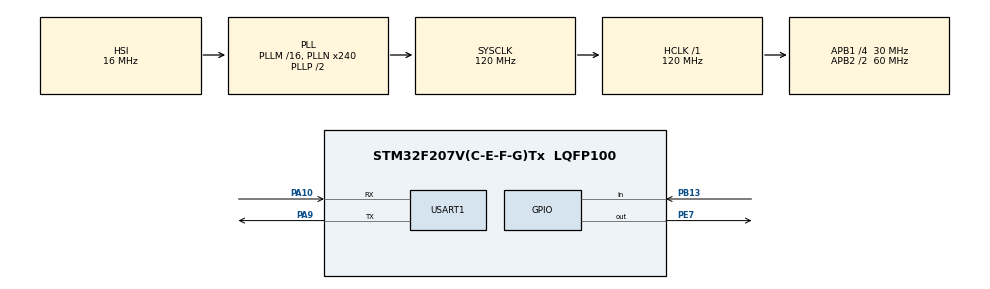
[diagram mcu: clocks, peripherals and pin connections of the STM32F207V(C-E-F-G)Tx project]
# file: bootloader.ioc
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Mcu.Family=STM32F2
RCC.CortexFreq_Value=120000000
PA10.Mode=Asynchronous
RCC.APB1CLKDivider=RCC_HCLK_DIV4
PB13.Signal=GPIO_Input
RCC.SYSCLKSource=RCC_SYSCLKSOURCE_PLLCLK
ProjectManager.StackSize=0x400
PA9.Mode=Asynchronous
ProjectManager.TargetToolchain=STM32CubeIDE
RCC.HCLKFreq_Value=120000000
RCC.APB2TimFreq_Value=120000000
PA9.Signal=USART1_TX
RCC.LSE_VALUE=32768
RCC.AHBFreq_Value=120000000
RCC.HSE_VALUE=25000000
board=custom
RCC.VCOOutputFreq_Value=240000000
PB13.GPIO_PuPd=GPIO_PULLUP
RCC.APB2Freq_Value=60000000
Mcu.Name=STM32F207V(C-E-F-G)Tx
RCC.48MHZClocksFreq_Value=60000000
RCC.SYSCLKFreq_VALUE=120000000
Mcu.Package=LQFP100
USART1.VirtualMode=VM_ASYNC
PA10.Signal=USART1_RX
ProjectManager.HeapSize=0x200
RCC.HSI_VALUE=16000000
NVIC.PriorityGroup=NVIC_PRIORITYGROUP_4
RCC.APB2CLKDivider=RCC_HCLK_DIV2
RCC.PLLN=240
RCC.APB1TimFreq_Value=60000000
PE7.Signal=GPIO_Output
RCC.APB1Freq_Value=30000000

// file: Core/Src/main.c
/* USER CODE BEGIN Header */
/**
  ******************************************************************************
  * @file           : main.c
  * @brief          : Main program body
  ******************************************************************************
  * @attention
  *
  * <h2><center>&copy; Copyright (c) 2021 STMicroelectronics.
  * All rights reserved.</center></h2>
  *
  * This software component is licensed by ST under BSD 3-Clause license,
  * the "License"; You may not use this file except in compliance with the
  * License. You may obtain a copy of the License at:
  *                        opensource.org/licenses/BSD-3-Clause
  *
  ******************************************************************************
  */
/* USER CODE END Header */
#include <string.h>
#include <stdlib.h>
#include "main.h"

/* USER CODE BEGIN Includes */
#include "bootloader.h"
/* USER CODE END Includes */

UART_HandleTypeDef huart1;

void SystemClock_Config(void);
static void MX_GPIO_Init(void);
static void MX_USART1_UART_Init(void);

/* USER CODE BEGIN 0 */

char getUsart1Char() {
    char ret = (char) (huart1.Instance->DR & 0xFF);
    __HAL_UART_CLEAR_FLAG(&huart1, UART_IT_RXNE);
    return ret;
}

uint32_t alignTo32bits(uint32_t val) {
    uint32_t ret = val / 4;
    if (val % 4 > 0) ret++;

    return ret;
}

/* USER CODE END 0 */

int main(void)
{

  /* MCU Configuration--------------------------------------------------------*/

  /* Reset of all peripherals, Initializes the Flash interface and the Systick. */
  HAL_Init();

  /* Configure the system clock */
  SystemClock_Config();

  /* Initialize all configured peripherals */
  MX_GPIO_Init();
  MX_USART1_UART_Init();

  /* Infinite loop */
  /* USER CODE BEGIN WHILE */
#pragma clang diagnostic push
#pragma ide diagnostic ignored "EndlessLoop"
    while (1) {
        if (HAL_GPIO_ReadPin(GPIOB, GPIO_PIN_13) == GPIO_PIN_RESET) {
            while (1) {
                char buffer[1048];
                uint16_t bufferPtr = 0;

                memset(buffer, 0, 1048);

                while (1) {
                    if (__HAL_UART_GET_FLAG(&huart1, UART_FLAG_RXNE) != RESET) {
                        char c = getUsart1Char();
                        if (c != '\n') buffer[bufferPtr++] = c;
                        else break;
                    }
                }

                if (strncmp(buffer, "reset", 5) == 0) {
                    char *res = "OK\r\n";
                    HAL_UART_Transmit(&huart1, (uint8_t *) res, strlen(res), 1000);

                    HAL_NVIC_SystemReset();
                } else if (strncmp(buffer, "read", 4) == 0) {
                    uint8_t *app = (uint8_t *) (APP_ADDRESS);

                    // Send 192 kB of user application
                    for (int i = 0; i < 192; i++) {
                        HAL_UART_Transmit(&huart1, &app[i * 1024], 1024, 10000);
                    }
                } else if (strncmp(buffer, "write", 5) == 0) {
                    uint32_t offset = 0;

                    char *res = "OK\r\n";
                    HAL_UART_Transmit(&huart1, (uint8_t *) res, strlen(res), 1000);
                    while (1) {
                        uint32_t binSize = 0;
                        // Read data size
                        memset(buffer, 0, 1048);
                        bufferPtr = 0;
                        while (1) {
                            if (__HAL_UART_GET_FLAG(&huart1, UART_FLAG_RXNE) != RESET) {
                                char c = getUsart1Char();
                                if (c != '\n') buffer[bufferPtr++] = c;
                                else break;
                            }
                        }

                        char *eptr;
                        binSize = strtol(buffer, &eptr, 10);
                        HAL_UART_Transmit(&huart1, (uint8_t *) res, strlen(res), 1000);

                        if (binSize > 0) {
                            memset(buffer, 0, 1048);
                            if (HAL_UART_Receive(&huart1, (uint8_t *) buffer, binSize, 10000) == HAL_OK) {
                                if (WriteUserApplication((uint32_t *) buffer, alignTo32bits(binSize), offset)) {
                                    offset += binSize;
                                    HAL_UART_Transmit(&huart1, (uint8_t *) res, strlen(res), 1000);
                                } else {
                                    char *err = "ERROR\r\n";
                                    HAL_UART_Transmit(&huart1, (uint8_t *) err, strlen(err), 1000);
                                    break;
                                }
                            } else {
                                char *err = "ERROR\r\n";
                                HAL_UART_Transmit(&huart1, (uint8_t *) err, strlen(err), 1000);
                                break;
                            }
                        } else {
                            break;
                        }
                    }
                } else if (strncmp(buffer, "erase", 5) == 0) {
                    EraseUserApplication();

                    char *res = "OK\r\n";
                    HAL_UART_Transmit(&huart1, (uint8_t *) res, strlen(res), 1000);
                } else {
                    char *res = "Wrong command\r\n";
                    HAL_UART_Transmit(&huart1, (uint8_t *) res, strlen(res), 1000);
                }
            }
        }

        for (int i = 0; i < 6; i++) {
            HAL_GPIO_TogglePin(GPIOE, GPIO_PIN_7);
            HAL_Delay(500);
        }

        if (UserApplicationExists()) {
            JumpToApplication();
        } else {
            while (1) {
                HAL_GPIO_TogglePin(GPIOE, GPIO_PIN_7);
                HAL_Delay(100);
            }
        }
    /* USER CODE END WHILE */

    /* USER CODE BEGIN 3 */
    }
#pragma clang diagnostic pop
  /* USER CODE END 3 */
}

void SystemClock_Config(void)
{
  RCC_OscInitTypeDef RCC_OscInitStruct = {0};
  RCC_ClkInitTypeDef RCC_ClkInitStruct = {0};

  /** Initializes the RCC Oscillators according to the specified parameters
  * in the RCC_OscInitTypeDef structure.
  */
  RCC_OscInitStruct.OscillatorType = RCC_OSCILLATORTYPE_HSI;
  RCC_OscInitStruct.HSIState = RCC_HSI_ON;
  RCC_OscInitStruct.HSICalibrationValue = RCC_HSICALIBRATION_DEFAULT;
  RCC_OscInitStruct.PLL.PLLState = RCC_PLL_ON;
  RCC_OscInitStruct.PLL.PLLSource = RCC_PLLSOURCE_HSI;
  RCC_OscInitStruct.PLL.PLLM = 16;
  RCC_OscInitStruct.PLL.PLLN = 240;
  RCC_OscInitStruct.PLL.PLLP = RCC_PLLP_DIV2;
  RCC_OscInitStruct.PLL.PLLQ = 4;
  if (HAL_RCC_OscConfig(&RCC_OscInitStruct) != HAL_OK)
  {
    Error_Handler();
  }
  /** Initializes the CPU, AHB and APB buses clocks
  */
  RCC_ClkInitStruct.ClockType = RCC_CLOCKTYPE_HCLK|RCC_CLOCKTYPE_SYSCLK
                              |RCC_CLOCKTYPE_PCLK1|RCC_CLOCKTYPE_PCLK2;
  RCC_ClkInitStruct.SYSCLKSource = RCC_SYSCLKSOURCE_PLLCLK;
  RCC_ClkInitStruct.AHBCLKDivider = RCC_SYSCLK_DIV1;
  RCC_ClkInitStruct.APB1CLKDivider = RCC_HCLK_DIV4;
  RCC_ClkInitStruct.APB2CLKDivider = RCC_HCLK_DIV2;

  if (HAL_RCC_ClockConfig(&RCC_ClkInitStruct, FLASH_LATENCY_3) != HAL_OK)
  {
    Error_Handler();
  }
}

static void MX_USART1_UART_Init(void)
{

  huart1.Instance = USART1;
  huart1.Init.BaudRate = 115200;
  huart1.Init.WordLength = UART_WORDLENGTH_8B;
  huart1.Init.StopBits = UART_STOPBITS_1;
  huart1.Init.Parity = UART_PARITY_NONE;
  huart1.Init.Mode = UART_MODE_TX_RX;
  huart1.Init.HwFlowCtl = UART_HWCONTROL_NONE;
  huart1.Init.OverSampling = UART_OVERSAMPLING_16;
  if (HAL_UART_Init(&huart1) != HAL_OK)
  {
    Error_Handler();
  }

}

static void MX_GPIO_Init(void)
{
  GPIO_InitTypeDef GPIO_InitStruct = {0};

  /* GPIO Ports Clock Enable */
  __HAL_RCC_GPIOE_CLK_ENABLE();
  __HAL_RCC_GPIOB_CLK_ENABLE();
  __HAL_RCC_GPIOA_CLK_ENABLE();

  /*Configure GPIO pin Output Level */
  HAL_GPIO_WritePin(GPIOE, GPIO_PIN_7, GPIO_PIN_RESET);

  /*Configure GPIO pin : PE7 */
  GPIO_InitStruct.Pin = GPIO_PIN_7;
  GPIO_InitStruct.Mode = GPIO_MODE_OUTPUT_PP;
  GPIO_InitStruct.Pull = GPIO_NOPULL;
  GPIO_InitStruct.Speed = GPIO_SPEED_FREQ_LOW;
  HAL_GPIO_Init(GPIOE, &GPIO_InitStruct);

  /*Configure GPIO pin : PB13 */
  GPIO_InitStruct.Pin = GPIO_PIN_13;
  GPIO_InitStruct.Mode = GPIO_MODE_INPUT;
  GPIO_InitStruct.Pull = GPIO_PULLUP;
  HAL_GPIO_Init(GPIOB, &GPIO_InitStruct);

}

void Error_Handler(void)
{
    __disable_irq();
    while (1) {
    }
}

/************************ (C) COPYRIGHT STMicroelectronics *****END OF FILE****/
